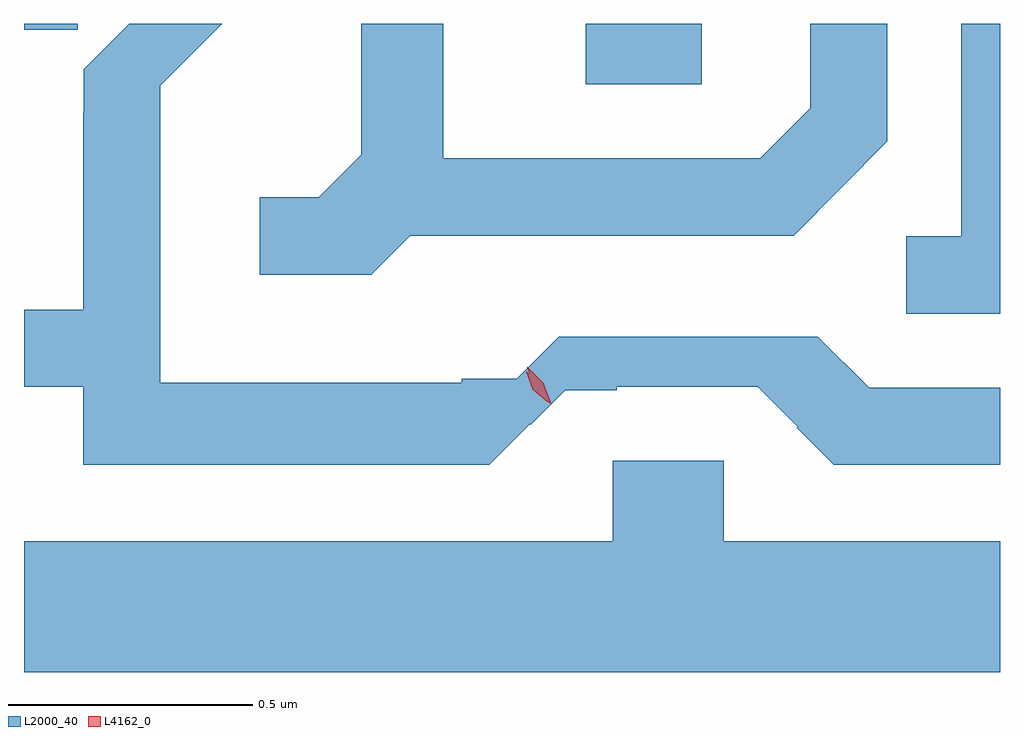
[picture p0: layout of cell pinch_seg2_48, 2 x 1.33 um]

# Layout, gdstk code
import gdstk
lib = gdstk.Library(unit=1e-6, precision=1e-09)
def R(c, l, rs):  # rectangles x0, y0, x1, y1
    for r in rs: c.add(gdstk.rectangle(r[:2], r[2:], *l))
def P(c, l, *ps):  # polygons
    for p in ps: c.add(gdstk.Polygon(p, *l))
L2000_40 = (2000, 40)
L4162_0 = (4162, 0)

pinch_seg2_48 = lib.new_cell('pinch_seg2_48')
R(pinch_seg2_48, L2000_40, [(1222.931,1076.161,1223.169,1076.285), (1221.78,1076.273,1221.89,1076.285)])
P(pinch_seg2_48, L2000_40, [(1222.816,1075.464),(1222.818,1075.463),(1222.889,1075.534),(1222.995,1075.534),(1222.995,1075.541),(1223.284,1075.541),(1223.366,1075.459),(1223.363,1075.457),(1223.439,1075.381),(1223.78,1075.381),(1223.78,1075.539),(1223.512,1075.539),(1223.407,1075.644),(1222.876,1075.644),(1222.79,1075.558),(1222.677,1075.558),(1222.677,1075.549),(1222.059,1075.549),(1222.059,1076.158),(1222.186,1076.285),(1221.996,1076.285),(1221.902,1076.192),(1221.902,1076.103),(1221.901,1076.103),(1221.901,1075.699),(1221.78,1075.699),(1221.78,1075.541),(1221.901,1075.541),(1221.901,1075.381),(1222.733,1075.381)],
  [(1222.572,1075.851),(1223.357,1075.851),(1223.549,1076.044),(1223.549,1076.285),(1223.391,1076.285),(1223.391,1076.112),(1223.289,1076.009),(1222.639,1076.009),(1222.639,1076.285),(1222.471,1076.285),(1222.471,1076.017),(1222.384,1075.929),(1222.263,1075.929),(1222.263,1075.771),(1222.492,1075.771)],
  [(1223.78,1076.285),(1223.701,1076.285),(1223.701,1075.849),(1223.588,1075.849),(1223.588,1075.691),(1223.78,1075.691)],
  [(1223.78,1075.224),(1223.214,1075.224),(1223.214,1075.389),(1222.986,1075.389),(1222.986,1075.224),(1221.78,1075.224),(1221.78,1074.956),(1223.78,1074.956)])
P(pinch_seg2_48, L4162_0, [(1222.86,1075.505),(1222.859,1075.506),(1222.827,1075.538),(1222.811,1075.581),(1222.811,1075.582),(1222.812,1075.581),(1222.844,1075.549),(1222.86,1075.506)],
  [(1222.853,1075.509),(1222.823,1075.535),(1222.809,1075.572),(1222.809,1075.573),(1222.81,1075.572),(1222.84,1075.546),(1222.854,1075.51),(1222.854,1075.509)])

lib.write_gds('pinch_seg2_48.gds')
